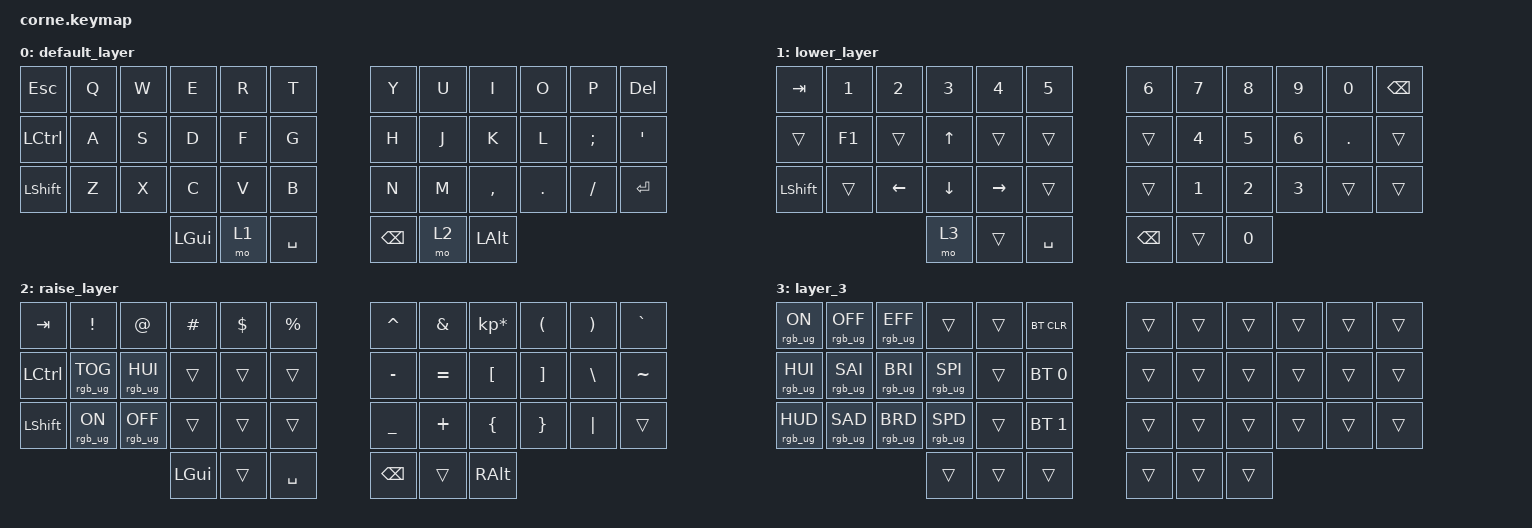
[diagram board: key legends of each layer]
/*
 * Copyright (c) 2020 The ZMK Contributors
 *
 * SPDX-License-Identifier: MIT
 */

#include <behaviors.dtsi>
#include <dt-bindings/zmk/bt.h>
#include <dt-bindings/zmk/keys.h>
#include <dt-bindings/zmk/rgb.h>

/ {
    keymap {
        compatible = "zmk,keymap";

        default_layer {
            // -----------------------------------------------------------------------------------------
            // |  TAB |  Q  |  W  |  E  |  R  |  T  |   |  Y  |  U   |  I  |  O  |  P  | BKSP |
            // | CTRL |  A  |  S  |  D  |  F  |  G  |   |  H  |  J   |  K  |  L  |  ;  |  '   |
            // | SHFT |  Z  |  X  |  C  |  V  |  B  |   |  N  |  M   |  ,  |  .  |  /  | ESC  |
            //                    | GUI | LWR | SPC |   | ENT | RSE  | ALT |

            bindings = <
&kp ESC    &kp Q  &kp W  &kp E     &kp R  &kp T        &kp Y     &kp U  &kp I         &kp O    &kp P     &kp DEL
&kp LCTRL  &kp A  &kp S  &kp D     &kp F  &kp G        &kp H     &kp J  &kp K         &kp L    &kp SEMI  &kp SQT
&kp LSHFT  &kp Z  &kp X  &kp C     &kp V  &kp B        &kp N     &kp M  &kp COMMA     &kp DOT  &kp FSLH  &kp RET
                         &kp LGUI  &mo 1  &kp SPACE    &kp BSPC  &mo 2  &kp LEFT_ALT
            >;
        };

        lower_layer {
            // -----------------------------------------------------------------------------------------
            // |  TAB |  1  |  2  |  3  |  4  |  5  |   |  6  |  7  |  8  |  9  |  0  | BKSP |
            // | BTCLR| BT1 | BT2 | BT3 | BT4 | BT5 |   | LFT | DWN |  UP | RGT |     |      |
            // | SHFT |     |     |     |     |     |   |     |     |     |     |     |      |
            //                    | GUI |     | SPC |   | ENT |     | ALT |

            bindings = <
&kp TAB    &kp N1  &kp N2    &kp N3    &kp N4     &kp N5       &kp N6    &kp N7        &kp N8        &kp N9        &kp N0   &kp BSPC
&trans     &kp F1  &trans    &kp UP    &trans     &trans       &trans    &kp NUMBER_4  &kp NUMBER_5  &kp NUMBER_6  &kp DOT  &trans
&kp LSHFT  &trans  &kp LEFT  &kp DOWN  &kp RIGHT  &trans       &trans    &kp NUMBER_1  &kp NUMBER_2  &kp NUMBER_3  &trans   &trans
                             &mo 3     &trans     &kp SPACE    &kp BSPC  &trans        &kp NUMBER_0
            >;
        };

        raise_layer {
            // -----------------------------------------------------------------------------------------
            // |  TAB |  !  |  @  |  #  |  $  |  %  |   |  ^  |  &  |  *  |  (  |  )  | BKSP |
            // | CTRL |     |     |     |     |     |   |  -  |  =  |  [  |  ]  |  \  |  `   |
            // | SHFT |     |     |     |     |     |   |  _  |  +  |  {  |  }  | "|" |  ~   |
            //                    | GUI |     | SPC |   | ENT |     | ALT |

            bindings = <
&kp TAB    &kp EXCL         &kp AT           &kp HASH  &kp DLLR  &kp PRCNT    &kp CARET  &kp AMPS   &kp KP_MULTIPLY  &kp LPAR  &kp RPAR  &kp GRAVE
&kp LCTRL  &rgb_ug RGB_TOG  &rgb_ug RGB_HUI  &trans    &trans    &trans       &kp MINUS  &kp EQUAL  &kp LBKT         &kp RBKT  &kp BSLH  &kp TILDE
&kp LSHFT  &rgb_ug RGB_ON   &rgb_ug RGB_OFF  &trans    &trans    &trans       &kp UNDER  &kp PLUS   &kp LBRC         &kp RBRC  &kp PIPE  &trans
                                             &kp LGUI  &trans    &kp SPACE    &kp BSPC   &trans     &kp RALT
            >;
        };

        layer_3 {
            bindings = <
&rgb_ug RGB_ON   &rgb_ug RGB_OFF  &rgb_ug RGB_EFF  &trans           &trans  &bt BT_CLR      &trans  &trans  &trans  &trans  &trans  &trans
&rgb_ug RGB_HUI  &rgb_ug RGB_SAI  &rgb_ug RGB_BRI  &rgb_ug RGB_SPI  &trans  &bt BT_SEL 0    &trans  &trans  &trans  &trans  &trans  &trans
&rgb_ug RGB_HUD  &rgb_ug RGB_SAD  &rgb_ug RGB_BRD  &rgb_ug RGB_SPD  &trans  &bt BT_SEL 1    &trans  &trans  &trans  &trans  &trans  &trans
                                                   &trans           &trans  &trans          &trans  &trans  &trans
            >;
        };
    };
};
